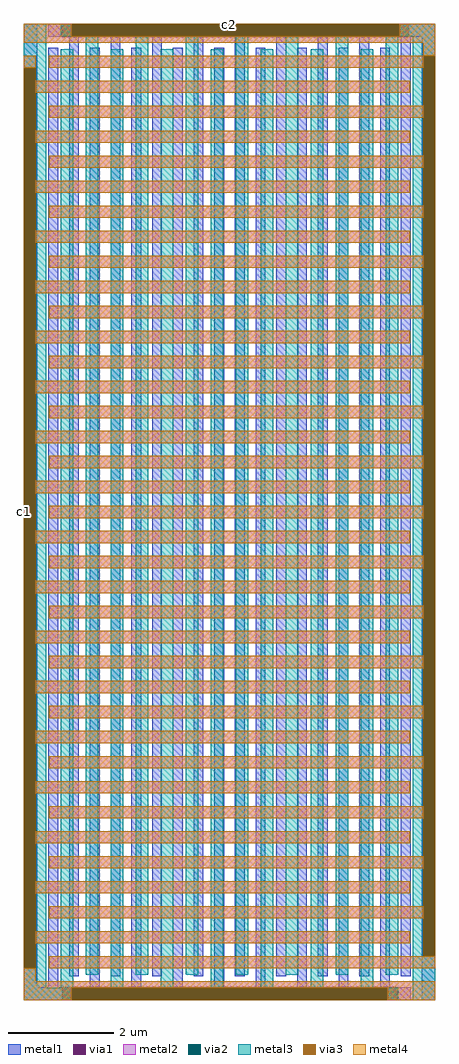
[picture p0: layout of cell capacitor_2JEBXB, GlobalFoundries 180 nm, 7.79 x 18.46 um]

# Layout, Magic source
magic
tech gf180mcuD
magscale 3 26
<< metal1 >>
rect 0 3056 45 3200
rect 81 3199 1350 3200
rect 81 3159 127 3199
rect 1263 3159 1350 3199
rect 81 3158 1350 3159
rect 0 104 1 3056
rect 41 104 45 3056
rect 0 42 45 104
rect 81 42 113 3122
rect 149 78 181 3158
rect 217 42 249 3122
rect 285 78 317 3158
rect 353 42 385 3122
rect 421 78 453 3158
rect 489 42 521 3122
rect 557 78 589 3158
rect 625 42 657 3122
rect 693 78 725 3158
rect 761 42 793 3122
rect 829 78 861 3158
rect 897 42 929 3122
rect 965 78 997 3158
rect 1033 42 1065 3122
rect 1101 78 1133 3158
rect 1169 42 1201 3122
rect 1237 78 1269 3158
rect 1305 3096 1350 3158
rect 1305 144 1309 3096
rect 1349 144 1350 3096
rect 0 41 1269 42
rect 0 1 127 41
rect 1223 1 1269 41
rect 0 0 1269 1
rect 1305 0 1350 144
<< via1 >>
rect 127 3159 1263 3199
rect 1 104 41 3056
rect 1309 144 1349 3096
rect 127 1 1223 41
<< metal2 >>
rect 0 3199 156 3200
rect 1234 3199 1350 3200
rect 0 3159 127 3199
rect 1263 3159 1350 3199
rect 0 3138 1350 3159
rect 1309 3096 1350 3138
rect 0 3056 41 3096
rect 84 3056 1309 3096
rect 41 2974 1266 3014
rect 84 2892 1309 2932
rect 41 2810 1266 2850
rect 84 2728 1309 2768
rect 41 2646 1266 2686
rect 84 2564 1309 2604
rect 41 2482 1266 2522
rect 84 2400 1309 2440
rect 41 2318 1266 2358
rect 84 2236 1309 2276
rect 41 2154 1266 2194
rect 84 2072 1309 2112
rect 41 1990 1266 2030
rect 84 1908 1309 1948
rect 41 1826 1266 1866
rect 84 1744 1309 1784
rect 41 1662 1266 1702
rect 84 1580 1309 1620
rect 41 1498 1266 1538
rect 84 1416 1309 1456
rect 41 1334 1266 1374
rect 84 1252 1309 1292
rect 41 1170 1266 1210
rect 84 1088 1309 1128
rect 41 1006 1266 1046
rect 84 924 1309 964
rect 41 842 1266 882
rect 84 760 1309 800
rect 41 678 1266 718
rect 84 596 1309 636
rect 41 514 1266 554
rect 84 432 1309 472
rect 41 350 1266 390
rect 84 268 1309 308
rect 41 186 1266 226
rect 84 104 1350 144
rect 0 62 41 104
rect 0 41 1350 62
rect 0 1 127 41
rect 1223 1 1350 41
rect 0 0 156 1
rect 1194 0 1350 1
<< via2 >>
rect 156 3199 1234 3200
rect 156 3160 1234 3199
rect 0 104 1 3056
rect 1 104 40 3056
rect 1310 144 1349 3096
rect 1349 144 1350 3096
rect 156 1 1194 40
rect 156 0 1194 1
<< metal3 >>
rect 0 3056 74 3200
rect 122 3160 156 3200
rect 1234 3160 1350 3200
rect 40 104 74 3056
rect 0 40 74 104
rect 122 40 162 3118
rect 204 82 244 3160
rect 286 40 326 3118
rect 368 82 408 3160
rect 450 40 490 3118
rect 532 82 572 3160
rect 614 40 654 3118
rect 696 82 736 3160
rect 778 40 818 3118
rect 860 82 900 3160
rect 942 40 982 3118
rect 1024 82 1064 3160
rect 1106 40 1146 3118
rect 1188 82 1228 3160
rect 1276 3096 1350 3160
rect 1276 144 1310 3096
rect 0 0 156 40
rect 1194 0 1228 40
rect 1276 0 1350 144
<< via3 >>
rect 156 3160 1234 3200
rect 0 104 40 3056
rect 1310 144 1350 3096
rect 156 0 1194 40
<< metal4 >>
rect 0 3160 156 3200
rect 1234 3160 1350 3200
rect 0 3138 1350 3160
rect 1310 3096 1350 3138
rect 0 3056 40 3096
rect 82 3056 1310 3096
rect 40 2974 1268 3014
rect 82 2892 1310 2932
rect 40 2810 1268 2850
rect 82 2728 1310 2768
rect 40 2646 1268 2686
rect 82 2564 1310 2604
rect 40 2482 1268 2522
rect 82 2400 1310 2440
rect 40 2318 1268 2358
rect 82 2236 1310 2276
rect 40 2154 1268 2194
rect 82 2072 1310 2112
rect 40 1990 1268 2030
rect 82 1908 1310 1948
rect 40 1826 1268 1866
rect 82 1744 1310 1784
rect 40 1662 1268 1702
rect 82 1580 1310 1620
rect 40 1498 1268 1538
rect 82 1416 1310 1456
rect 40 1334 1268 1374
rect 82 1252 1310 1292
rect 40 1170 1268 1210
rect 82 1088 1310 1128
rect 40 1006 1268 1046
rect 82 924 1310 964
rect 40 842 1268 882
rect 82 760 1310 800
rect 40 678 1268 718
rect 82 596 1310 636
rect 40 514 1268 554
rect 82 432 1310 472
rect 40 350 1268 390
rect 82 268 1310 308
rect 40 186 1268 226
rect 82 104 1350 144
rect 0 62 40 104
rect 0 40 1350 62
rect 0 0 156 40
rect 1194 0 1350 40
<< labels >>
rlabel via3 2 1600 2 1600 0 c1
port 1 nsew
rlabel via3 675 3198 675 3198 0 c2
port 2 nsew
<< properties >>
string device csubckt cap_cmomf 0 0 1 1 w=6.75u l=16u mmin=1 mmax=4 subblock=0 mm_ok=1 c1 0 0 c2 0 0
string FIXED_BBOX 0 0 1350 3200
string gencell cap_cmomf
string library gf180mcu
string parameters w 6.75 l 16 value 9.28 class capacitor mmin 1 mmax 4 square 1 subblock 0 lmin 2.00 wmin 2.00 lmax 100.0 wmax 100.0 val {}
<< end >>
